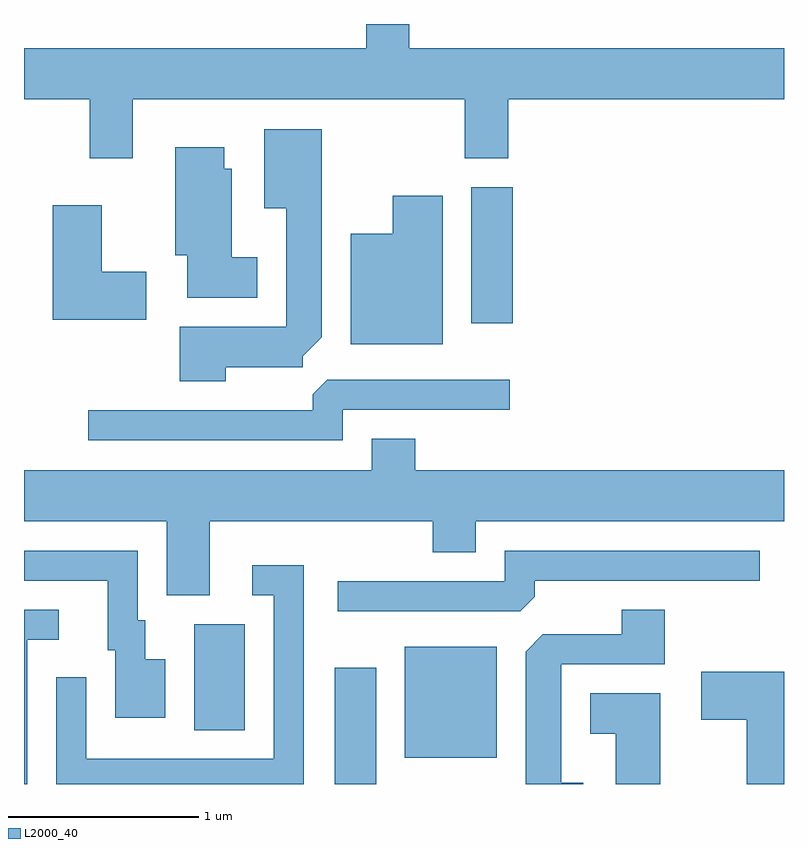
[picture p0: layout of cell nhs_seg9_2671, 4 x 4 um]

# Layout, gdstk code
import gdstk
lib = gdstk.Library(unit=1e-6, precision=1e-09)
def R(c, l, rs):  # rectangles x0, y0, x1, y1
    for r in rs: c.add(gdstk.rectangle(r[:2], r[2:], *l))
def P(c, l, *ps):  # polygons
    for p in ps: c.add(gdstk.Polygon(p, *l))
L2000_40 = (2000, 40)

nhs_seg9_2671 = lib.new_cell('nhs_seg9_2671')
R(nhs_seg9_2671, L2000_40, [(265.246,1990.432,265.464,1991.044), (265.616,1990.571,266.099,1991.154), (264.506,1990.716,264.774,1991.274), (265.966,1992.856,266.184,1993.574)])
P(nhs_seg9_2671, L2000_40, [(264.184,1994.036),(265.931,1994.036),(265.931,1993.726),(266.159,1993.726),(266.159,1994.036),(267.611,1994.036),(267.611,1994.304),(265.639,1994.304),(265.639,1994.432),(265.411,1994.432),(265.411,1994.304),(263.611,1994.304),(263.611,1994.036),(263.956,1994.036),(263.956,1993.726),(264.184,1993.726)],
  [(264.674,1992.626),(265.079,1992.626),(265.079,1992.684),(265.179,1992.784),(265.179,1993.879),(264.876,1993.879),(264.876,1993.461),(264.991,1993.461),(264.991,1992.839),(264.431,1992.839),(264.431,1992.551),(264.674,1992.551)],
  [(264.839,1993.204),(264.704,1993.204),(264.704,1993.669),(264.664,1993.669),(264.664,1993.784),(264.406,1993.784),(264.406,1993.216),(264.471,1993.216),(264.471,1992.991),(264.839,1992.991)],
  [(265.814,1993.529),(265.551,1993.529),(265.551,1993.329),(265.331,1993.329),(265.331,1992.746),(265.814,1992.746)],
  [(264.254,1993.129),(264.019,1993.129),(264.019,1993.479),(263.761,1993.479),(263.761,1992.876),(264.254,1992.876)],
  [(265.289,1992.401),(266.168,1992.401),(266.168,1992.559),(265.207,1992.559),(265.131,1992.484),(265.131,1992.399),(263.948,1992.399),(263.948,1992.241),(265.289,1992.241)],
  [(264.589,1991.816),(265.761,1991.816),(265.761,1991.651),(265.989,1991.651),(265.989,1991.816),(267.611,1991.816),(267.611,1992.084),(265.669,1992.084),(265.669,1992.249),(265.441,1992.249),(265.441,1992.084),(263.611,1992.084),(263.611,1991.816),(264.361,1991.816),(264.361,1991.426),(264.589,1991.426)],
  [(266.299,1991.417),(266.299,1991.501),(267.483,1991.501),(267.483,1991.659),(266.141,1991.659),(266.141,1991.499),(265.263,1991.499),(265.263,1991.341),(266.224,1991.341)],
  [(264.354,1991.089),(264.249,1991.089),(264.249,1991.294),(264.209,1991.294),(264.209,1991.659),(263.611,1991.659),(263.611,1991.501),(264.051,1991.501),(264.051,1991.136),(264.091,1991.136),(264.091,1990.781),(264.354,1990.781)],
  [(265.084,1991.584),(264.813,1991.584),(264.813,1991.426),(264.926,1991.426),(264.926,1990.564),(263.939,1990.564),(263.939,1990.993),(263.781,1990.993),(263.781,1990.432),(265.084,1990.432)],
  [(266.554,1990.439),(266.439,1990.439),(266.439,1991.061),(266.984,1991.061),(266.984,1991.349),(266.756,1991.349),(266.756,1991.219),(266.342,1991.219),(266.251,1991.129),(266.251,1990.432),(266.554,1990.432)],
  [(263.629,1991.191),(263.793,1991.191),(263.793,1991.349),(263.611,1991.349),(263.611,1990.432),(263.629,1990.432)],
  [(267.611,1991.024),(267.176,1991.024),(267.176,1990.771),(267.416,1990.771),(267.416,1990.432),(267.611,1990.432)],
  [(266.959,1990.909),(266.591,1990.909),(266.591,1990.696),(266.726,1990.696),(266.726,1990.432),(266.959,1990.432)])

lib.write_gds('nhs_seg9_2671.gds')
